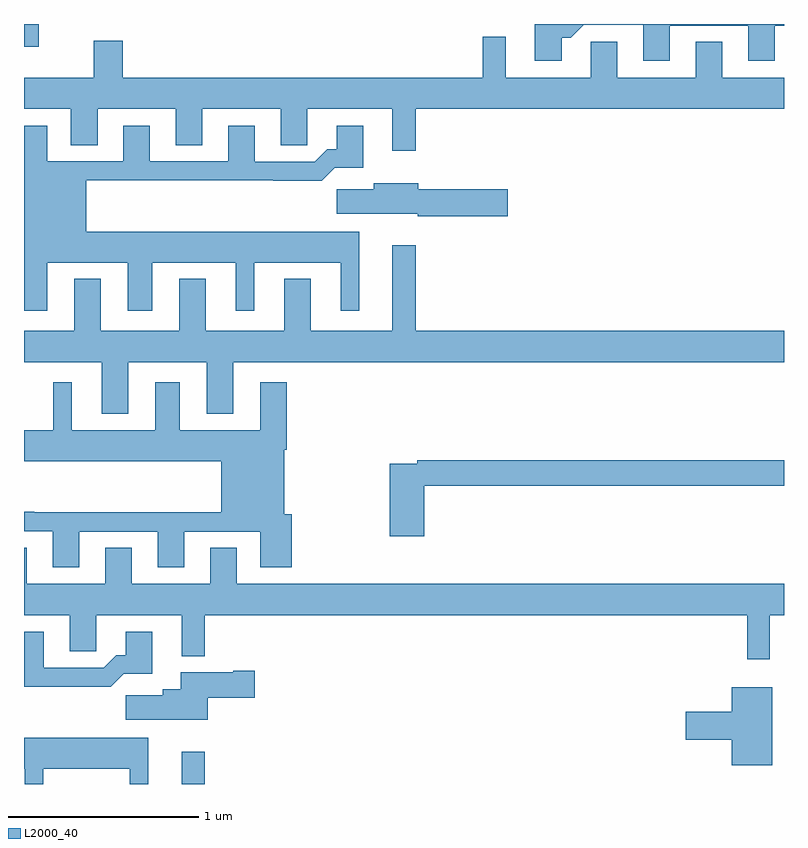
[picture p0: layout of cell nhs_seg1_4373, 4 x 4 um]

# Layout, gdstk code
import gdstk
lib = gdstk.Library(unit=1e-6, precision=1e-09)
def R(c, l, rs):  # rectangles x0, y0, x1, y1
    for r in rs: c.add(gdstk.rectangle(r[:2], r[2:], *l))
def P(c, l, *ps):  # polygons
    for p in ps: c.add(gdstk.Polygon(p, *l))
L2000_40 = (2000, 40)

nhs_seg1_4373 = lib.new_cell('nhs_seg1_4373')
R(nhs_seg1_4373, L2000_40, [(349.829,528.199,349.951,528.37), (349,532.08,349.078,532.199)])
P(nhs_seg1_4373, L2000_40, [(351.829,532.127),(351.878,532.127),(351.945,532.194),(352.259,532.194),(352.259,532.005),(352.399,532.005),(352.399,532.191),(352.811,532.191),(352.811,532.005),(352.951,532.005),(352.951,532.191),(353,532.191),(353,532.199),(351.689,532.199),(351.689,532.005),(351.829,532.005)],
  [(351.061,531.752),(353,531.752),(353,531.916),(352.675,531.916),(352.675,532.106),(352.535,532.106),(352.535,531.916),(352.123,531.916),(352.123,532.106),(351.984,532.106),(351.984,531.916),(351.535,531.916),(351.535,532.132),(351.414,532.132),(351.414,531.916),(349.52,531.916),(349.52,532.111),(349.367,532.111),(349.367,531.916),(349,531.916),(349,531.752),(349.247,531.752),(349.247,531.562),(349.387,531.562),(349.387,531.752),(349.799,531.752),(349.799,531.562),(349.939,531.562),(349.939,531.752),(350.351,531.752),(350.351,531.562),(350.49,531.562),(350.49,531.752),(350.939,531.752),(350.939,531.531),(351.061,531.531)],
  [(349.123,530.942),(349.547,530.942),(349.547,530.691),(349.675,530.691),(349.675,530.942),(350.114,530.942),(350.114,530.691),(350.212,530.691),(350.212,530.942),(350.666,530.942),(350.666,530.691),(350.764,530.691),(350.764,531.106),(349.327,531.106),(349.327,531.376),(350.311,531.376),(350.311,531.374),(350.567,531.374),(350.636,531.443),(350.785,531.443),(350.785,531.664),(350.645,531.664),(350.645,531.541),(350.596,531.541),(350.529,531.474),(350.215,531.474),(350.215,531.664),(350.075,531.664),(350.075,531.477),(349.663,531.477),(349.663,531.664),(349.523,531.664),(349.523,531.477),(349.123,531.477),(349.123,531.664),(349,531.664),(349,530.691),(349.123,530.691)],
  [(351.547,531.33),(351.076,531.33),(351.076,531.361),(350.84,531.361),(350.84,531.329),(350.646,531.329),(350.646,531.2),(351.072,531.2),(351.072,531.188),(351.547,531.188)],
  [(349.265,530.857),(349.265,530.584),(349,530.584),(349,530.42),(349.409,530.42),(349.409,530.147),(349.549,530.147),(349.549,530.42),(349.961,530.42),(349.961,530.147),(350.101,530.147),(350.101,530.42),(353,530.42),(353,530.584),(351.061,530.584),(351.061,531.034),(350.939,531.034),(350.939,530.584),(350.509,530.584),(350.509,530.857),(350.369,530.857),(350.369,530.584),(349.957,530.584),(349.957,530.857),(349.817,530.857),(349.817,530.584),(349.405,530.584),(349.405,530.857)],
  [(349.291,529.527),(349.703,529.527),(349.703,529.341),(349.843,529.341),(349.843,529.527),(350.243,529.527),(350.243,529.341),(350.408,529.341),(350.408,529.62),(350.371,529.62),(350.371,529.958),(350.384,529.958),(350.384,530.314),(350.243,530.314),(350.243,530.062),(349.819,530.062),(349.819,530.314),(349.691,530.314),(349.691,530.062),(349.252,530.062),(349.252,530.314),(349.154,530.314),(349.154,530.062),(349,530.062),(349,529.898),(350.039,529.898),(350.039,529.628),(349.055,529.628),(349.055,529.631),(349,529.631),(349,529.53),(349.151,529.53),(349.151,529.341),(349.291,529.341)],
  [(351.107,529.768),(353,529.768),(353,529.904),(351.07,529.904),(351.07,529.884),(350.924,529.884),(350.924,529.503),(351.107,529.503)],
  [(352.925,529.088),(353,529.088),(353,529.252),(350.119,529.252),(350.119,529.442),(349.979,529.442),(349.979,529.252),(349.567,529.252),(349.567,529.442),(349.427,529.442),(349.427,529.252),(349.015,529.252),(349.015,529.442),(349,529.442),(349,529.088),(349.241,529.088),(349.241,528.898),(349.38,528.898),(349.38,529.088),(349.829,529.088),(349.829,528.872),(349.951,528.872),(349.951,529.088),(352.807,529.088),(352.807,528.855),(352.925,528.855)],
  [(349.526,528.779),(349.675,528.779),(349.675,529),(349.535,529),(349.535,528.877),(349.486,528.877),(349.419,528.81),(349.105,528.81),(349.105,529),(349,529),(349,528.712),(349.201,528.712),(349.201,528.71),(349.457,528.71)],
  [(349.966,528.653),(350.215,528.653),(350.215,528.795),(350.102,528.795),(350.102,528.787),(349.826,528.787),(349.826,528.697),(349.73,528.697),(349.73,528.665),(349.536,528.665),(349.536,528.536),(349.966,528.536)],
  [(352.939,528.709),(352.724,528.709),(352.724,528.578),(352.482,528.578),(352.482,528.431),(352.724,528.431),(352.724,528.299),(352.939,528.299)],
  [(349.102,528.278),(349.556,528.278),(349.556,528.199),(349.654,528.199),(349.654,528.442),(349,528.442),(349,528.278),(349.004,528.278),(349.004,528.199),(349.102,528.199)])

lib.write_gds('nhs_seg1_4373.gds')
